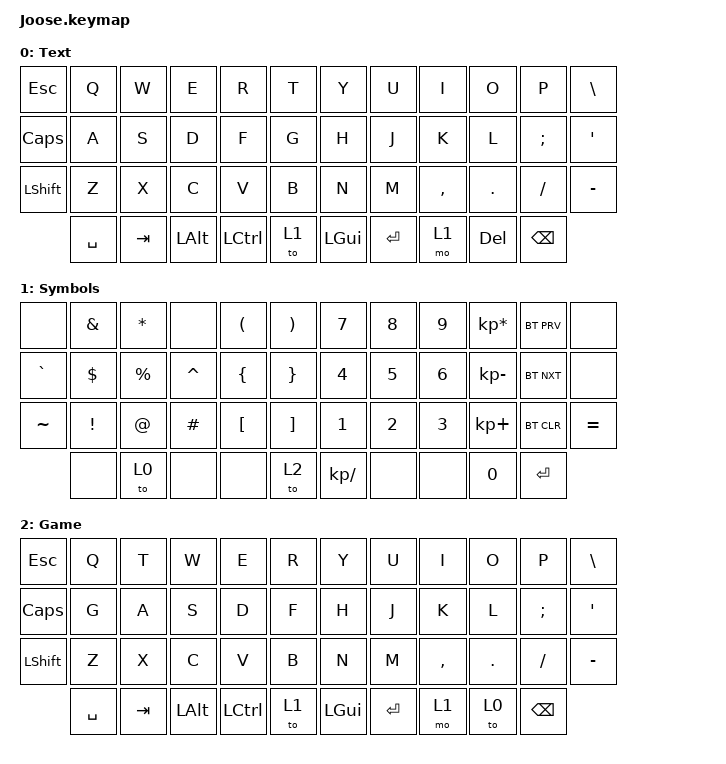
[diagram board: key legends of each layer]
#include <behaviors.dtsi>
#include <dt-bindings/zmk/keys.h>
#include <dt-bindings/zmk/bt.h>

/ {
        keymap {
                compatible = "zmk,keymap";

                text {
// -----------------------------------------------------------------------------------------
// |  ESC |  Q  |  W  |  E  |  R  |  T  |   |  Y  |  U   |  I  |  O  |  P  |  \  |
// | CAPS |  A  |  S  |  D  |  F  |  G  |   |  H  |  J   |  K  |  L  |  ;  |  '  |
// | SHFT |  Z  |  X  |  C  |  V  |  B  |   |  N  |  M   |  ,  |  .  |  /  |  -  |
//  | LALT | LCTRL | SPACE | TAB | LAY1 |   | SUPER | DEL  | BSPC | RET | FN |
                        bindings = <
   &kp ESC &kp Q &kp W &kp E &kp R &kp T  &kp Y &kp U  &kp I     &kp O   &kp P    &kp BSLH
   &kp CAPS &kp A &kp S &kp D &kp F &kp G  &kp H &kp J  &kp K     &kp L   &kp SEMI &kp SQT 
   &kp LSHFT &kp Z &kp X &kp C &kp V &kp B  &kp N &kp M  &kp COMMA &kp DOT &kp FSLH &kp MINUS
   &kp SPACE &kp TAB &kp LALT &kp LCTRL &to 1 &kp LGUI &kp RET &mo 1 &kp DEL &kp BSPC
                        >;
                        label = "Text";
                };

                symbols {
// -----------------------------------------------------------------------------------------
// |     |  &  |  *  |     |  (  |  )  |   |  7  |  8  |  9  |  *  |  BLPRV  |    |
// |  `  |  $  |  %  |  ^  |  {  |  }  |   |  4  |  5  |  6  |  -  |  BLNXT  |    |
// |  ~  |  !  |  @  |  #  |  [  |  ]  |   |  1  |  2  |  3  |  +  |  BLCLR  |  = |
//              |  |  |  | LAY0 | LAY2 |   | / | 0 | RET |  |  |
                        bindings = <
   &none &kp AMPS &kp STAR &none &kp LPAR &kp RPAR &kp N7 &kp N8 &kp N9 &kp KP_MULTIPLY &bt BT_PRV &none
   &kp GRAVE &kp DLLR &kp PRCNT &kp CARET &kp LEFT_BRACE &kp RIGHT_BRACE &kp N4 &kp N5 &kp N6 &kp KP_MINUS &bt BT_NXT &none
   &kp TILDE &kp EXCL &kp AT &kp HASH &kp LEFT_BRACKET &kp RIGHT_BRACKET &kp N1 &kp N2 &kp N3 &kp KP_PLUS &bt BT_CLR &kp EQUAL
                           &none &to 0 &none &none &to 2   &kp KP_SLASH &none &none &kp N0 &kp RET
                        >;
                        label = "Symbols";
                };

                game {
// -----------------------------------------------------------------------------------------
// |  ESC |  Q  |  T  |  W  |  E  |  R  |   |  Y  |  U   |  I  |  O  |  P  |  \  |
// | CAPS |  G  |  A  |  S  |  D  |  F  |   |  H  |  J   |  K  |  L  |  ;  |  '  |
// | SHFT |  Z  |  X  |  C  |  V  |  B  |   |  N  |  M   |  ,  |  .  |  /  |  -  |
//  | LALT | LCTRL | SPACE | TAB | LAY1 |   | SUPER | LAY0 | BSPC | RET | FN |
                        bindings = <
   &kp ESC &kp Q &kp T &kp W &kp E &kp R   &kp Y &kp U  &kp I     &kp O   &kp P    &kp BSLH
   &kp CAPS &kp G &kp A &kp S &kp D &kp F   &kp H &kp J  &kp K     &kp L   &kp SEMI &kp SQT 
   &kp LSHFT &kp Z &kp X &kp C &kp V &kp B   &kp N &kp M  &kp COMMA &kp DOT &kp FSLH &kp MINUS
   &kp SPACE &kp TAB &kp LALT &kp LCTRL &to 1   &kp LGUI &kp RET &mo 1 &to 0 &kp BSPC
                        >;
                        label = "Game";
                };
        };
};
